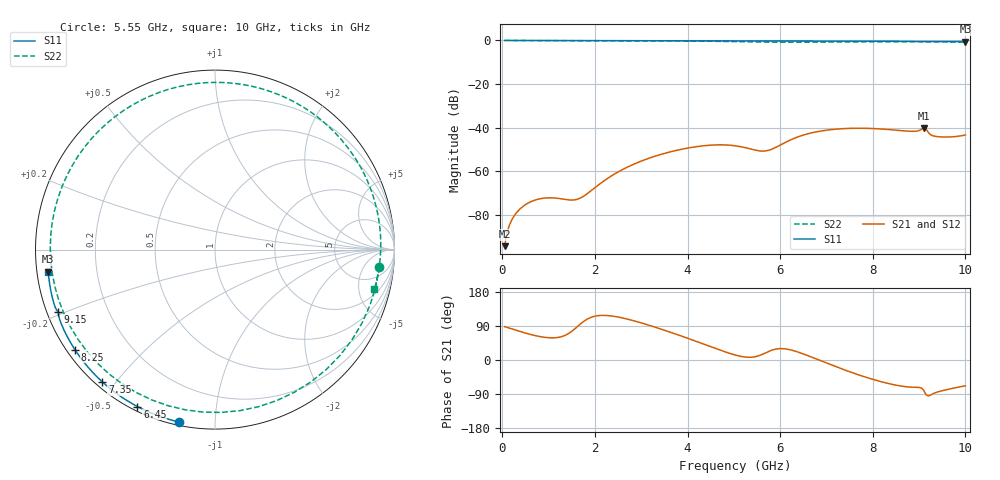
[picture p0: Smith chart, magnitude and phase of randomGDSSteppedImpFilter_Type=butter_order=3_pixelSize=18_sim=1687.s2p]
! freq	dB(S11)	phase(S11)	dB(S12)	phase(S12)
!  dB(S21)	phase(S21)	dB(S22)	phase(S22)
!S-par simulation data
#  GHz  S  DB  R 50
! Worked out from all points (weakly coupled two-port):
!   200 points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, 50 MHz to 10 GHz, reference 50 ohm
!   highest |S21| = -40.11 dB at 9.1 GHz (marker M1); lowest = -94.4 dB at 50 MHz (marker M2)
!   lowest |S11| = -0.6 dB at 10 GHz (marker M3), VSWR 30.88, Z = 1.63 - j3.29 ohm
!   |S11| at or under -10 dB: nowhere
!   |S22| runs from -0.8 to 0.0 dB; largest |S21 - S12| = 0
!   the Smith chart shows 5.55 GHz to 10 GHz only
!   S11 on the Smith chart (normalised r, x): 5.55 GHz: 0.02, -0.81; 6.45 GHz: 0.02, -0.62; 7.35 GHz: 0.02, -0.46; 8.25 GHz: 0.02, -0.32; 9.15 GHz: 0.03, -0.19; 10 GHz: 0.03, -0.07
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0.05  -0.00 -1.0  -94.35 88.1  -94.35 88.1  -0.00 -3.0
0.95  -0.02 -18.9  -72.23 59.3  -72.23 59.3  -0.07 -55.9
1.75  -0.04 -34.5  -71.51 101.1  -71.51 101.1  -0.12 -99.7
2.65  -0.07 -51.5  -58.63 109.5  -58.63 109.5  -0.17 -146.0
3.4  -0.09 -65.1  -52.43 82.7  -52.43 82.7  -0.22 174.8
3.95  -0.10 -74.9  -49.58 59.7  -49.58 59.7  -0.27 142.7
4.45  -0.12 -83.5  -48.10 37.4  -48.10 37.4  -0.35 108.1
4.75  -0.13 -88.6  -47.88 24.1  -47.88 24.1  -0.42 83.3
5.05  -0.14 -93.6  -48.37 12.5  -48.37 12.5  -0.52 54.0
5.55  -0.17 -101.9  -50.64 11.7  -50.64 11.7  -0.71 -6.2
6  -0.19 -109.1  -48.00 30.1  -48.00 30.1  -0.83 -67.7
6.45  -0.22 -116.3  -43.73 18.2  -43.73 18.2  -0.82 -124.7
6.7  -0.23 -120.3  -42.27 6.6  -42.27 6.6  -0.79 -152.0
7  -0.26 -125.0  -41.15 -8.0  -41.15 -8.0  -0.74 179.1
7.35  -0.28 -130.4  -40.47 -24.3  -40.47 -24.3  -0.70 149.7
7.8  -0.32 -137.5  -40.28 -43.4  -40.28 -43.4  -0.65 116.3
8.25  -0.36 -144.5  -40.70 -59.5  -40.70 -59.5  -0.61 86.2
8.35  -0.37 -146.1  -40.86 -62.4  -40.86 -62.4  -0.60 79.9
9.1  -0.53 -157.9  -40.11 -80.0  -40.11 -80.0  -0.61 35.2
9.15  -0.53 -158.4  -40.57 -91.4  -40.57 -91.4  -0.61 32.4
9.35  -0.48 -161.7  -43.97 -86.4  -43.97 -86.4  -0.62 21.2
10  -0.56 -172.5  -43.35 -68.2  -43.35 -68.2  -0.77 -13.8
